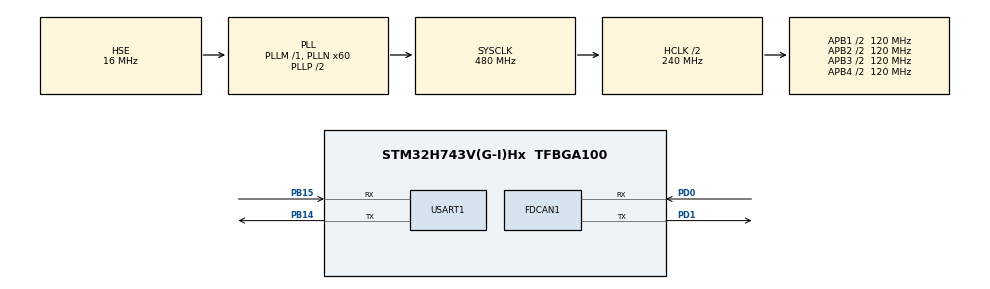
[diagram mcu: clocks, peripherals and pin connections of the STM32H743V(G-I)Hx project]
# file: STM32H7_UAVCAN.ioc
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FDCAN1.CalculateBaudRateNominal=1000000
FDCAN1.CalculateTimeBitNominal=1000
FDCAN1.CalculateTimeQuantumNominal=100.0
FDCAN1.DataPrescaler=12
FDCAN1.DataTimeSeg1=6
FDCAN1.NominalPrescaler=12
FDCAN1.NominalTimeSeg1=6
FDCAN1.NominalTimeSeg2=3
Mcu.Family=STM32H7
Mcu.Name=STM32H743V(G-I)Hx
Mcu.Package=TFBGA100
NVIC.PriorityGroup=NVIC_PRIORITYGROUP_4
PA13\ (JTMS/SWDIO).Mode=Serial_Wire
PA13\ (JTMS/SWDIO).Signal=DEBUG_JTMS-SWDIO
PA14\ (JTCK/SWCLK).Mode=Serial_Wire
PA14\ (JTCK/SWCLK).Signal=DEBUG_JTCK-SWCLK
PB14.Mode=Asynchronous
PB14.Signal=USART1_TX
PB15.Mode=Asynchronous
PB15.Signal=USART1_RX
PD0.Mode=FDCAN_Activate
PD0.Signal=FDCAN1_RX
PD1.Mode=FDCAN_Activate
PD1.Signal=FDCAN1_TX
PH0-OSC_IN\ (PH0).Mode=HSE-External-Oscillator
PH0-OSC_IN\ (PH0).Signal=RCC_OSC_IN
PH1-OSC_OUT\ (PH1).Mode=HSE-External-Oscillator
PH1-OSC_OUT\ (PH1).Signal=RCC_OSC_OUT
ProjectManager.HeapSize=0x200
ProjectManager.StackSize=0x400
ProjectManager.TargetToolchain=STM32CubeIDE
RCC.ADCFreq_Value=32250000
RCC.APB1Freq_Value=120000000
RCC.APB2Freq_Value=120000000
RCC.APB3Freq_Value=120000000
RCC.APB4Freq_Value=120000000
RCC.CortexFreq_Value=480000000
RCC.D1PPRE=RCC_APB3_DIV2
RCC.D2PPRE1=RCC_APB1_DIV2
RCC.D2PPRE2=RCC_APB2_DIV2
RCC.D3PPRE=RCC_APB4_DIV2
RCC.DIVM1=1
RCC.DIVN1=60
RCC.DIVQ1=8
RCC.HCLKFreq_Value=240000000
RCC.HPRE=RCC_HCLK_DIV2
RCC.HSE_VALUE=16000000
RCC.PLLFRACN=0
RCC.PLLSourceVirtual=RCC_PLLSOURCE_HSE
RCC.PWR_Regulator_Voltage_Scale=PWR_REGULATOR_VOLTAGE_SCALE0
RCC.ProductRev=revV
RCC.SYSCLKFreq_VALUE=480000000
RCC.SYSCLKSource=RCC_SYSCLKSOURCE_PLLCLK
RCC.USBFreq_Value=120000000
TIM2.Prescaler=23
USART1.VirtualMode-Asynchronous=VM_ASYNC
VP_TIM2_VS_ClockSourceINT.Mode=Internal
board=custom

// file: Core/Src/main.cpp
/* USER CODE BEGIN Header */
/**
  ******************************************************************************
  * @file           : main.c
  * @brief          : Main program body
  ******************************************************************************
  * @attention
  *
  * Copyright (c) 2023 STMicroelectronics.
  * All rights reserved.
  *
  * This software is licensed under terms that can be found in the LICENSE file
  * in the root directory of this software component.
  * If no LICENSE file comes with this software, it is provided AS-IS.
  *
  ******************************************************************************
  */
/* USER CODE END Header */
#include "main.h"
#include "fdcan.h"
#include "tim.h"
#include "usart.h"
#include "gpio.h"

/* USER CODE BEGIN Includes */
#include <uavcan_stm32h7/uavcan_stm32h7.hpp>
#include <uavcan/uavcan.hpp>

#include <uavcan/equipment/gnss/Fix2.hpp>
/* USER CODE END Includes */

void SystemClock_Config(void);

/* USER CODE BEGIN 0 */
constexpr unsigned NodePoolSize = 8192;
uavcan_stm32h7::CanInitHelper<> can;

uavcan::Node<NodePoolSize>& getNode() {
    static uavcan::Node<NodePoolSize> node(can.driver, uavcan_stm32h7::SystemClock::instance());
    return node;
}
/* USER CODE END 0 */

int main(void)
{

  /* MCU Configuration--------------------------------------------------------*/

  /* Reset of all peripherals, Initializes the Flash interface and the Systick. */
  HAL_Init();

  /* Configure the system clock */
  SystemClock_Config();

  /* Initialize all configured peripherals */
  MX_GPIO_Init();
  MX_FDCAN1_Init();
  MX_USART1_UART_Init();
  MX_TIM2_Init();
  /* USER CODE BEGIN 2 */
	uint32_t value = 1000000;

	can.init(value);

	getNode().setName("org.test.DynamicIDClient");
	getNode().setNodeID(10);
	getNode().start();

	uavcan::Subscriber<uavcan::equipment::gnss::Fix2> kv_sub(getNode());

	const int kv_sub_start_res = kv_sub.start([&](const uavcan::equipment::gnss::Fix2& msg){
		HAL_UART_Transmit(&huart1, (uint8_t*)"gns\r\n", 5, 0xff);
	});

	getNode().setModeOperational();
  /* USER CODE END 2 */

  /* Infinite loop */
  while (1)
  {

    /* USER CODE BEGIN 3 */
	  const int res = getNode().spin(uavcan::MonotonicDuration::fromMSec(500));

  }
  /* USER CODE END 3 */
}

void SystemClock_Config(void)
{
  RCC_OscInitTypeDef RCC_OscInitStruct = {0};
  RCC_ClkInitTypeDef RCC_ClkInitStruct = {0};

  /** Supply configuration update enable
  */
  HAL_PWREx_ConfigSupply(PWR_LDO_SUPPLY);

  /** Configure the main internal regulator output voltage
  */
  __HAL_PWR_VOLTAGESCALING_CONFIG(PWR_REGULATOR_VOLTAGE_SCALE1);

  while(!__HAL_PWR_GET_FLAG(PWR_FLAG_VOSRDY)) {}

  __HAL_RCC_SYSCFG_CLK_ENABLE();
  __HAL_PWR_VOLTAGESCALING_CONFIG(PWR_REGULATOR_VOLTAGE_SCALE0);

  while(!__HAL_PWR_GET_FLAG(PWR_FLAG_VOSRDY)) {}

  /** Initializes the RCC Oscillators according to the specified parameters
  * in the RCC_OscInitTypeDef structure.
  */
  RCC_OscInitStruct.OscillatorType = RCC_OSCILLATORTYPE_HSE;
  RCC_OscInitStruct.HSEState = RCC_HSE_ON;
  RCC_OscInitStruct.PLL.PLLState = RCC_PLL_ON;
  RCC_OscInitStruct.PLL.PLLSource = RCC_PLLSOURCE_HSE;
  RCC_OscInitStruct.PLL.PLLM = 1;
  RCC_OscInitStruct.PLL.PLLN = 60;
  RCC_OscInitStruct.PLL.PLLP = 2;
  RCC_OscInitStruct.PLL.PLLQ = 8;
  RCC_OscInitStruct.PLL.PLLR = 2;
  RCC_OscInitStruct.PLL.PLLRGE = RCC_PLL1VCIRANGE_3;
  RCC_OscInitStruct.PLL.PLLVCOSEL = RCC_PLL1VCOWIDE;
  RCC_OscInitStruct.PLL.PLLFRACN = 0;
  if (HAL_RCC_OscConfig(&RCC_OscInitStruct) != HAL_OK)
  {
    Error_Handler();
  }

  /** Initializes the CPU, AHB and APB buses clocks
  */
  RCC_ClkInitStruct.ClockType = RCC_CLOCKTYPE_HCLK|RCC_CLOCKTYPE_SYSCLK
                              |RCC_CLOCKTYPE_PCLK1|RCC_CLOCKTYPE_PCLK2
                              |RCC_CLOCKTYPE_D3PCLK1|RCC_CLOCKTYPE_D1PCLK1;
  RCC_ClkInitStruct.SYSCLKSource = RCC_SYSCLKSOURCE_PLLCLK;
  RCC_ClkInitStruct.SYSCLKDivider = RCC_SYSCLK_DIV1;
  RCC_ClkInitStruct.AHBCLKDivider = RCC_HCLK_DIV2;
  RCC_ClkInitStruct.APB3CLKDivider = RCC_APB3_DIV2;
  RCC_ClkInitStruct.APB1CLKDivider = RCC_APB1_DIV2;
  RCC_ClkInitStruct.APB2CLKDivider = RCC_APB2_DIV2;
  RCC_ClkInitStruct.APB4CLKDivider = RCC_APB4_DIV2;

  if (HAL_RCC_ClockConfig(&RCC_ClkInitStruct, FLASH_LATENCY_4) != HAL_OK)
  {
    Error_Handler();
  }
}

void Error_Handler(void)
{
  __disable_irq();
  while (1)
  {
  }
}
